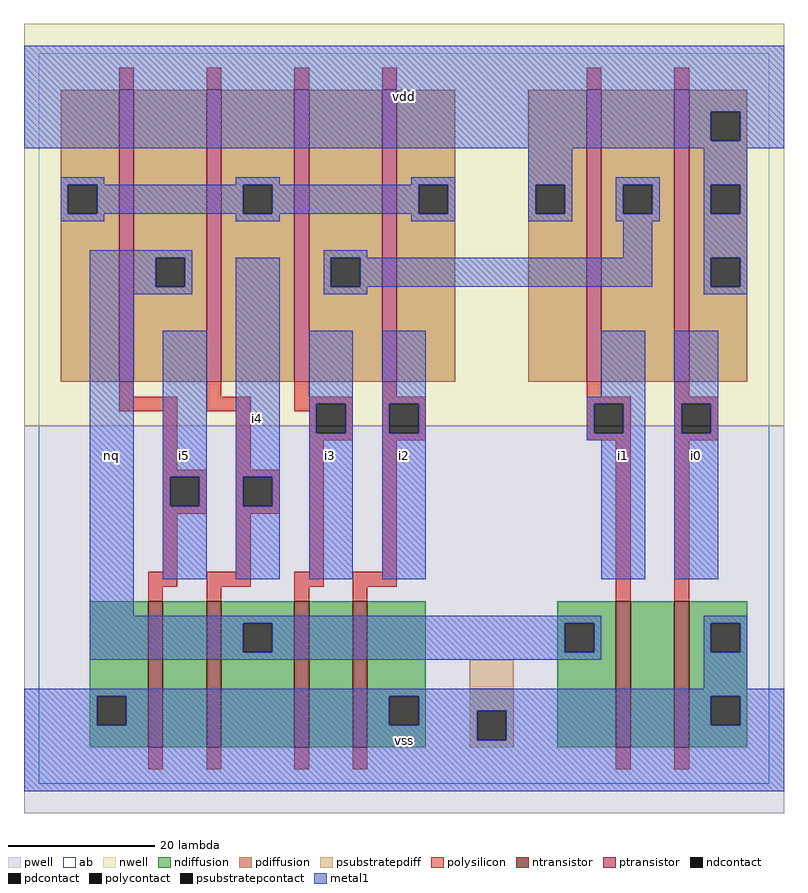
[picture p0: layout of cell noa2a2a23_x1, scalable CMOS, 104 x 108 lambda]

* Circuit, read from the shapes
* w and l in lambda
.subckt noa2a2a23_x1 i0 i1 i2 i3 i4 i5 nq vdd vss
M1 n1 i5 vss vss nfet w=20 l=2
M2 nq i4 n1 vss nfet w=20 l=2
M3 n2 i3 nq vss nfet w=20 l=2
M4 vss i2 n2 vss nfet w=20 l=2
M5 n3 i1 nq vss nfet w=20 l=2
M6 vss i0 n3 vss nfet w=20 l=2
M7 nq i5 n4 n5 pfet w=40 l=2
M8 n4 i4 nq n5 pfet w=40 l=2
M9 n6 i3 n4 n5 pfet w=40 l=2
M10 n4 i2 n6 n5 pfet w=40 l=2
M11 n6 i1 vdd n5 pfet w=40 l=2
M12 vdd i0 n6 n5 pfet w=40 l=2
.ends

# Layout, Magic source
magic
tech scmos
<< ab >>
rect 0 0 100 100
<< pwell >>
rect -2 -4 102 49
<< nwell >>
rect -2 49 102 104
<< polysilicon >>
rect 11 95 13 98
rect 23 95 25 98
rect 35 95 37 98
rect 47 95 49 98
rect 75 95 77 98
rect 87 95 89 98
rect 11 53 13 55
rect 23 53 25 55
rect 35 53 37 55
rect 47 53 49 55
rect 75 53 77 55
rect 87 53 89 55
rect 11 51 19 53
rect 23 51 29 53
rect 35 52 43 53
rect 35 51 38 52
rect 17 43 19 51
rect 27 43 29 51
rect 37 48 38 51
rect 42 48 43 52
rect 37 47 43 48
rect 47 52 53 53
rect 47 48 48 52
rect 52 48 53 52
rect 47 47 53 48
rect 75 52 81 53
rect 75 48 76 52
rect 80 48 81 52
rect 75 47 81 48
rect 17 42 23 43
rect 17 38 18 42
rect 22 38 23 42
rect 17 37 23 38
rect 27 42 33 43
rect 27 38 28 42
rect 32 38 33 42
rect 27 37 33 38
rect 17 29 19 37
rect 27 29 29 37
rect 37 29 39 47
rect 47 29 49 47
rect 15 27 19 29
rect 23 27 29 29
rect 35 27 39 29
rect 43 27 49 29
rect 15 25 17 27
rect 23 25 25 27
rect 35 25 37 27
rect 43 25 45 27
rect 79 25 81 47
rect 87 52 93 53
rect 87 48 88 52
rect 92 48 93 52
rect 87 47 93 48
rect 87 25 89 47
rect 15 2 17 5
rect 23 2 25 5
rect 35 2 37 5
rect 43 2 45 5
rect 79 2 81 5
rect 87 2 89 5
<< ndiffusion >>
rect 7 12 15 25
rect 7 8 8 12
rect 12 8 15 12
rect 7 5 15 8
rect 17 5 23 25
rect 25 22 35 25
rect 25 18 28 22
rect 32 18 35 22
rect 25 5 35 18
rect 37 5 43 25
rect 45 12 53 25
rect 71 22 79 25
rect 71 18 72 22
rect 76 18 79 22
rect 45 8 48 12
rect 52 8 53 12
rect 45 5 53 8
rect 71 5 79 18
rect 81 5 87 25
rect 89 22 97 25
rect 89 18 92 22
rect 96 18 97 22
rect 89 12 97 18
rect 89 8 92 12
rect 96 8 97 12
rect 89 5 97 8
<< pdiffusion >>
rect 3 82 11 95
rect 3 78 4 82
rect 8 78 11 82
rect 3 55 11 78
rect 13 72 23 95
rect 13 68 16 72
rect 20 68 23 72
rect 13 55 23 68
rect 25 82 35 95
rect 25 78 28 82
rect 32 78 35 82
rect 25 55 35 78
rect 37 72 47 95
rect 37 68 40 72
rect 44 68 47 72
rect 37 55 47 68
rect 49 82 57 95
rect 49 78 52 82
rect 56 78 57 82
rect 49 55 57 78
rect 67 82 75 95
rect 67 78 68 82
rect 72 78 75 82
rect 67 55 75 78
rect 77 82 87 95
rect 77 78 80 82
rect 84 78 87 82
rect 77 55 87 78
rect 89 92 97 95
rect 89 88 92 92
rect 96 88 97 92
rect 89 82 97 88
rect 89 78 92 82
rect 96 78 97 82
rect 89 72 97 78
rect 89 68 92 72
rect 96 68 97 72
rect 89 55 97 68
<< metal1 >>
rect -2 92 102 101
rect -2 88 92 92
rect 96 88 102 92
rect -2 87 102 88
rect 3 82 9 83
rect 27 82 33 83
rect 51 82 57 83
rect 3 78 4 82
rect 8 78 28 82
rect 32 78 52 82
rect 56 78 57 82
rect 3 77 9 78
rect 27 77 33 78
rect 51 77 57 78
rect 67 82 73 87
rect 67 78 68 82
rect 72 78 73 82
rect 67 77 73 78
rect 79 82 85 83
rect 79 78 80 82
rect 84 78 85 82
rect 79 77 85 78
rect 91 82 97 87
rect 91 78 92 82
rect 96 78 97 82
rect 7 72 21 73
rect 39 72 45 73
rect 80 72 84 77
rect 7 68 16 72
rect 20 68 21 72
rect 7 67 21 68
rect 7 23 13 67
rect 17 42 23 62
rect 17 38 18 42
rect 22 38 23 42
rect 17 28 23 38
rect 27 42 33 72
rect 39 68 40 72
rect 44 68 84 72
rect 91 72 97 78
rect 91 68 92 72
rect 96 68 97 72
rect 39 67 45 68
rect 91 67 97 68
rect 27 38 28 42
rect 32 38 33 42
rect 27 28 33 38
rect 37 52 43 62
rect 37 48 38 52
rect 42 48 43 52
rect 37 28 43 48
rect 47 52 53 62
rect 77 53 83 62
rect 47 48 48 52
rect 52 48 53 52
rect 47 28 53 48
rect 75 52 83 53
rect 75 48 76 52
rect 80 48 83 52
rect 75 47 83 48
rect 77 28 83 47
rect 87 52 93 62
rect 87 48 88 52
rect 92 48 93 52
rect 87 28 93 48
rect 7 22 77 23
rect 7 18 28 22
rect 32 18 72 22
rect 76 18 77 22
rect 7 17 77 18
rect 91 22 97 23
rect 91 18 92 22
rect 96 18 97 22
rect 91 13 97 18
rect -2 12 102 13
rect -2 8 8 12
rect 12 8 48 12
rect 52 10 92 12
rect 52 8 60 10
rect -2 6 60 8
rect 64 8 92 10
rect 96 8 102 12
rect 64 6 102 8
rect -2 -1 102 6
<< ntransistor >>
rect 15 5 17 25
rect 23 5 25 25
rect 35 5 37 25
rect 43 5 45 25
rect 79 5 81 25
rect 87 5 89 25
<< ptransistor >>
rect 11 55 13 95
rect 23 55 25 95
rect 35 55 37 95
rect 47 55 49 95
rect 75 55 77 95
rect 87 55 89 95
<< polycontact >>
rect 38 48 42 52
rect 48 48 52 52
rect 76 48 80 52
rect 18 38 22 42
rect 28 38 32 42
rect 88 48 92 52
<< ndcontact >>
rect 8 8 12 12
rect 28 18 32 22
rect 72 18 76 22
rect 48 8 52 12
rect 92 18 96 22
rect 92 8 96 12
<< pdcontact >>
rect 4 78 8 82
rect 16 68 20 72
rect 28 78 32 82
rect 40 68 44 72
rect 52 78 56 82
rect 68 78 72 82
rect 80 78 84 82
rect 92 88 96 92
rect 92 78 96 82
rect 92 68 96 72
<< psubstratepcontact >>
rect 60 6 64 10
<< psubstratepdiff >>
rect 59 10 65 17
rect 59 6 60 10
rect 64 6 65 10
rect 59 5 65 6
<< labels >>
rlabel metal1 10 45 10 45 6 nq
rlabel metal1 20 45 20 45 6 i5
rlabel metal1 20 45 20 45 6 i5
rlabel metal1 10 45 10 45 6 nq
rlabel metal1 40 45 40 45 6 i3
rlabel metal1 40 45 40 45 6 i3
rlabel metal1 30 50 30 50 6 i4
rlabel metal1 30 50 30 50 6 i4
rlabel metal1 50 6 50 6 6 vss
rlabel metal1 50 6 50 6 6 vss
rlabel metal1 50 45 50 45 6 i2
rlabel metal1 50 45 50 45 6 i2
rlabel metal1 50 94 50 94 6 vdd
rlabel metal1 50 94 50 94 6 vdd
rlabel metal1 80 45 80 45 6 i1
rlabel metal1 90 45 90 45 6 i0
rlabel metal1 90 45 90 45 6 i0
rlabel metal1 80 45 80 45 6 i1
<< end >>
